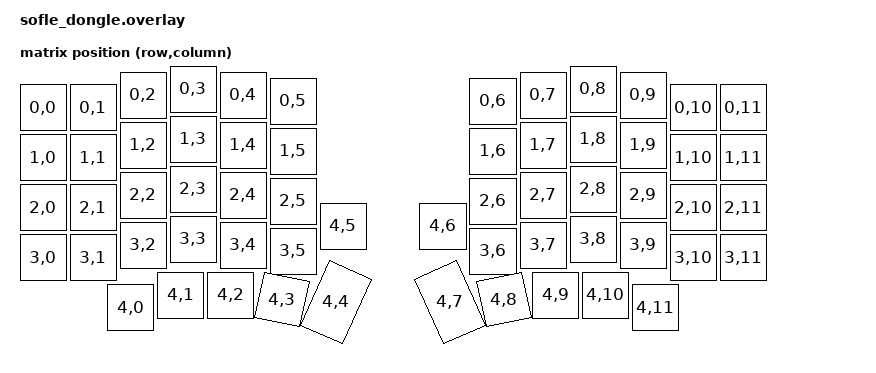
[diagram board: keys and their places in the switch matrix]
/ {
    chosen {
        zmk,kscan = &mock_kscan;
        zmk,physical-layout = &josefadamcik_sofle_layout;
    };

    mock_kscan: mock_kscan_0 {
        compatible = "zmk,kscan-mock";
        columns = <0>;
        rows = <0>;
        events = <0>;
    };

    default_transform: keymap_transform_0 {
        compatible = "zmk,matrix-transform";
        columns = <16>;
        rows = <4>;
        map = <
RC(0,0) RC(0,1) RC(0,2) RC(0,3) RC(0,4) RC(0,5)                 RC(0,6) RC(0,7) RC(0,8)  RC(0,9) RC(0,10) RC(0,11)
RC(1,0) RC(1,1) RC(1,2) RC(1,3) RC(1,4) RC(1,5)                 RC(1,6) RC(1,7) RC(1,8)  RC(1,9) RC(1,10) RC(1,11)
RC(2,0) RC(2,1) RC(2,2) RC(2,3) RC(2,4) RC(2,5)                 RC(2,6) RC(2,7) RC(2,8)  RC(2,9) RC(2,10) RC(2,11)
RC(3,0) RC(3,1) RC(3,2) RC(3,3) RC(3,4) RC(3,5) RC(4,5) RC(4,6) RC(3,6) RC(3,7) RC(3,8)  RC(3,9) RC(3,10) RC(3,11)
                RC(4,0) RC(4,1) RC(4,2) RC(4,3) RC(4,4) RC(4,7) RC(4,8) RC(4,9) RC(4,10) RC(4,11)
        >;
    };

    josefadamcik_sofle_layout: josefadamcik_sofle_layout {
        compatible = "zmk,physical-layout";
        display-name = "Sofle";
        transform = <&default_transform>;

        keys
            = <&key_physical_attrs 100 100    0   37       0     0     0>
            , <&key_physical_attrs 100 100  100   37       0     0     0>
            , <&key_physical_attrs 100 100  200   12       0     0     0>
            , <&key_physical_attrs 100 100  300    0       0     0     0>
            , <&key_physical_attrs 100 100  400   12       0     0     0>
            , <&key_physical_attrs 100 100  500   24       0     0     0>
            , <&key_physical_attrs 100 100  900   24       0     0     0>
            , <&key_physical_attrs 100 100 1000   12       0     0     0>
            , <&key_physical_attrs 100 100 1100    0       0     0     0>
            , <&key_physical_attrs 100 100 1200   12       0     0     0>
            , <&key_physical_attrs 100 100 1300   37       0     0     0>
            , <&key_physical_attrs 100 100 1400   37       0     0     0>
            , <&key_physical_attrs 100 100    0  137       0     0     0>
            , <&key_physical_attrs 100 100  100  137       0     0     0>
            , <&key_physical_attrs 100 100  200  112       0     0     0>
            , <&key_physical_attrs 100 100  300  100       0     0     0>
            , <&key_physical_attrs 100 100  400  112       0     0     0>
            , <&key_physical_attrs 100 100  500  124       0     0     0>
            , <&key_physical_attrs 100 100  900  124       0     0     0>
            , <&key_physical_attrs 100 100 1000  112       0     0     0>
            , <&key_physical_attrs 100 100 1100  100       0     0     0>
            , <&key_physical_attrs 100 100 1200  112       0     0     0>
            , <&key_physical_attrs 100 100 1300  137       0     0     0>
            , <&key_physical_attrs 100 100 1400  137       0     0     0>
            , <&key_physical_attrs 100 100    0  237       0     0     0>
            , <&key_physical_attrs 100 100  100  237       0     0     0>
            , <&key_physical_attrs 100 100  200  212       0     0     0>
            , <&key_physical_attrs 100 100  300  200       0     0     0>
            , <&key_physical_attrs 100 100  400  212       0     0     0>
            , <&key_physical_attrs 100 100  500  224       0     0     0>
            , <&key_physical_attrs 100 100  900  224       0     0     0>
            , <&key_physical_attrs 100 100 1000  212       0     0     0>
            , <&key_physical_attrs 100 100 1100  200       0     0     0>
            , <&key_physical_attrs 100 100 1200  212       0     0     0>
            , <&key_physical_attrs 100 100 1300  237       0     0     0>
            , <&key_physical_attrs 100 100 1400  237       0     0     0>
            , <&key_physical_attrs 100 100    0  337       0     0     0>
            , <&key_physical_attrs 100 100  100  337       0     0     0>
            , <&key_physical_attrs 100 100  200  312       0     0     0>
            , <&key_physical_attrs 100 100  300  300       0     0     0>
            , <&key_physical_attrs 100 100  400  312       0     0     0>
            , <&key_physical_attrs 100 100  500  324       0     0     0>
            , <&key_physical_attrs 100 100  600  274       0     0     0>
            , <&key_physical_attrs 100 100  800  274       0     0     0>
            , <&key_physical_attrs 100 100  900  324       0     0     0>
            , <&key_physical_attrs 100 100 1000  312       0     0     0>
            , <&key_physical_attrs 100 100 1100  300       0     0     0>
            , <&key_physical_attrs 100 100 1200  312       0     0     0>
            , <&key_physical_attrs 100 100 1300  337       0     0     0>
            , <&key_physical_attrs 100 100 1400  337       0     0     0>
            , <&key_physical_attrs 100 100  175  437       0     0     0>
            , <&key_physical_attrs 100 100  275  412       0     0     0>
            , <&key_physical_attrs 100 100  375  412       0     0     0>
            , <&key_physical_attrs 100 100  490  412    1200   490   412>
            , <&key_physical_attrs 100 150  600  383    2400   600   433>
            , <&key_physical_attrs 100 150  800  383  (-2400)  900   433>
            , <&key_physical_attrs 100 100  910  412  (-1200) 1010   412>
            , <&key_physical_attrs 100 100  1025 412       0     0     0>
            , <&key_physical_attrs 100 100  1125 412       0     0     0>
            , <&key_physical_attrs 100 100  1225 437       0     0     0>
        ;
    };
};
